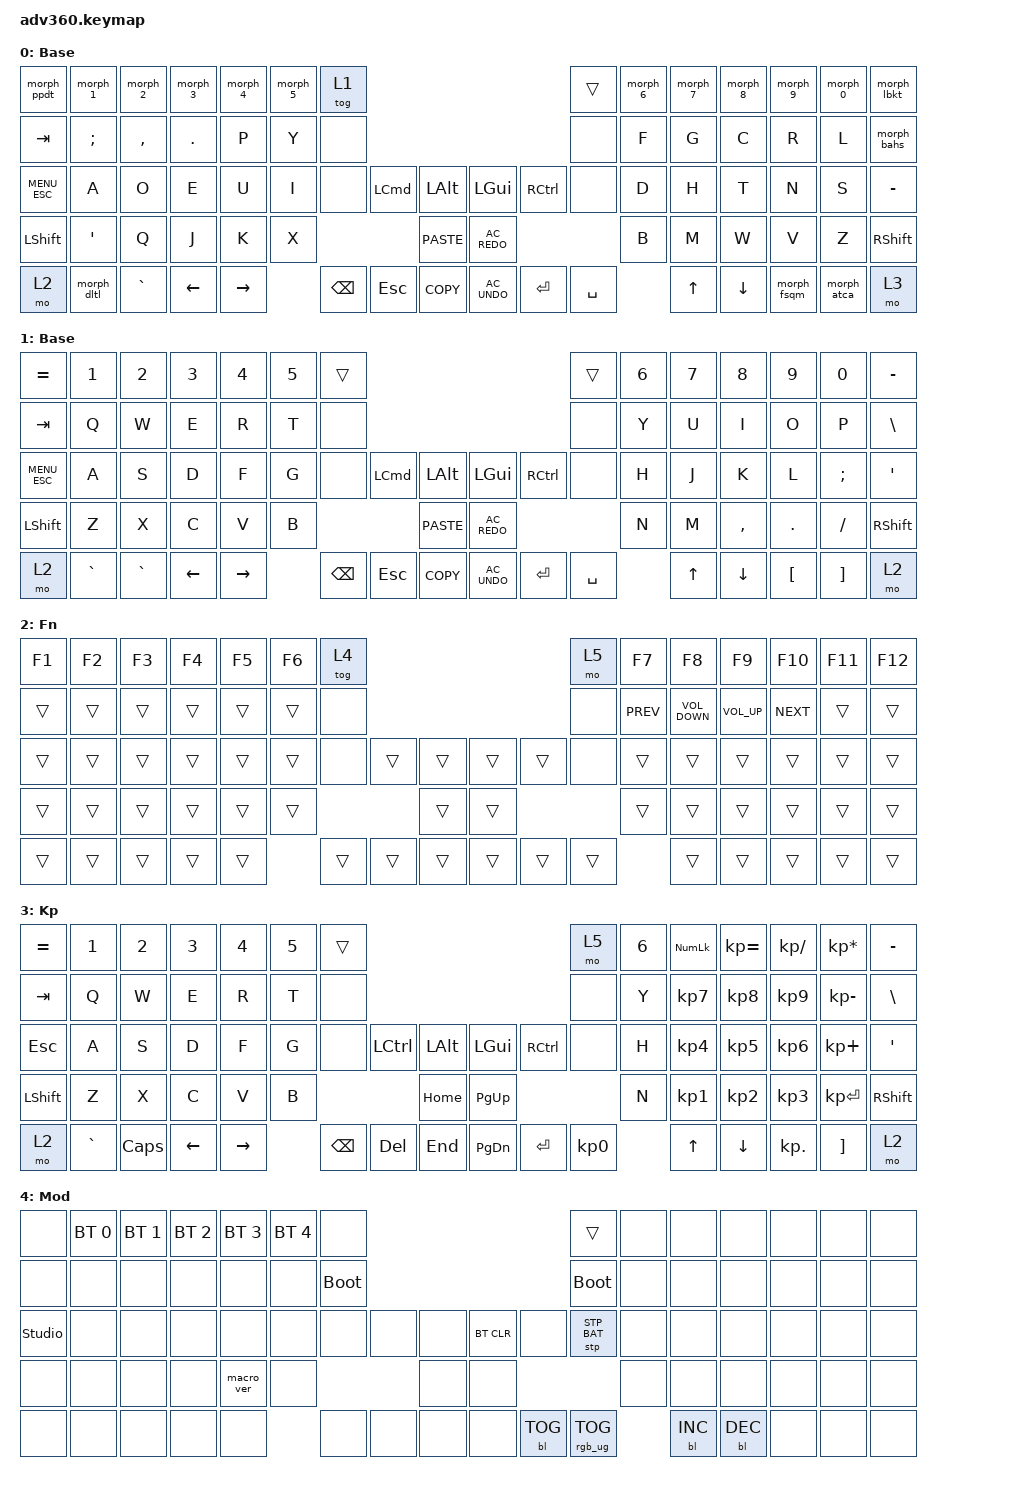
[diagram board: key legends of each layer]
#include <dt-bindings/zmk/stp.h>
#include <behaviors.dtsi>
#include <dt-bindings/zmk/backlight.h>
#include <dt-bindings/zmk/bt.h>
#include <dt-bindings/zmk/keys.h>
#include <dt-bindings/zmk/rgb.h>

/ {
    behaviors {
        #include "macros.dtsi"
        #include "version.dtsi"
        #include "morph.dtsi"

        hm: homerow_mods {
            compatible = "zmk,behavior-hold-tap";
            label = "HOMEROW_MODS";
            #binding-cells = <2>;
            tapping-term-ms = <200>;
            quick_tap_ms = <175>;
            flavor = "tap-preferred";
            bindings = <&kp>, <&kp>;
        };
    };

    keymap {
        compatible = "zmk,keymap";

        Dvorak {
            display-name = "Base";
            bindings = <
&morph_ppdt     &morph_1        &morph_2   &morph_3  &morph_4   &morph_5  &tog 1                                                                  &trans     &morph_6  &morph_7  &morph_8  &morph_9     &morph_0     &morph_lbkt
&kp TAB         &kp SEMICOLON   &kp COMMA  &kp DOT   &kp P      &kp Y     &none                                                                   &none      &kp F     &kp G     &kp C     &kp R        &kp L        &morph_bahs
&kp C_MENU_ESC  &kp A           &kp O      &kp E     &kp U      &kp I     &none     &kp LEFT_COMMAND  &kp LEFT_ALT      &kp LGUI       &kp RCTRL  &none      &kp D     &kp H     &kp T     &kp N        &kp S        &kp MINUS
&kp LSHFT       &kp APOSTROPHE  &kp Q      &kp J     &kp K      &kp X                                 &kp K_PASTE       &kp C_AC_REDO                        &kp B     &kp M     &kp W     &kp V        &kp Z        &kp RSHFT
&mo 2           &morph_dltl     &kp GRAVE  &kp LEFT  &kp RIGHT            &kp BSPC  &kp ESC           &kp K_COPY        &kp C_AC_UNDO  &kp ENTER  &kp SPACE            &kp UP    &kp DOWN  &morph_fsqm  &morph_atca  &mo 3
            >;
        };

        Querty {
            display-name = "Base";
            bindings = <
&kp EQUAL       &kp N1     &kp N2     &kp N3    &kp N4     &kp N5  &trans                                                                  &trans     &kp N6  &kp N7  &kp N8     &kp N9    &kp N0    &kp MINUS
&kp TAB         &kp Q      &kp W      &kp E     &kp R      &kp T   &none                                                                   &none      &kp Y   &kp U   &kp I      &kp O     &kp P     &kp BSLH
&kp C_MENU_ESC  &kp A      &kp S      &kp D     &kp F      &kp G   &none     &kp LEFT_COMMAND  &kp LEFT_ALT      &kp LGUI       &kp RCTRL  &none      &kp H   &kp J   &kp K      &kp L     &kp SEMI  &kp SQT
&kp LSHFT       &kp Z      &kp X      &kp C     &kp V      &kp B                               &kp K_PASTE       &kp C_AC_REDO                        &kp N   &kp M   &kp COMMA  &kp DOT   &kp FSLH  &kp RSHFT
&mo 2           &kp GRAVE  &kp GRAVE  &kp LEFT  &kp RIGHT          &kp BSPC  &kp ESC           &kp K_COPY        &kp C_AC_UNDO  &kp ENTER  &kp SPACE          &kp UP  &kp DOWN   &kp LBKT  &kp RBKT  &mo 2
            >;
        };

        fn {
            display-name = "Fn";
            bindings = <
&kp F1  &kp F2  &kp F3  &kp F4  &kp F5  &kp F6  &tog 4                                      &mo 5   &kp F7      &kp F8             &kp F9           &kp F10     &kp F11  &kp F12
&trans  &trans  &trans  &trans  &trans  &trans  &none                                       &none   &kp C_PREV  &kp C_VOLUME_DOWN  &kp C_VOLUME_UP  &kp C_NEXT  &trans   &trans
&trans  &trans  &trans  &trans  &trans  &trans  &none   &trans  &trans      &trans  &trans  &none   &trans      &trans             &trans           &trans      &trans   &trans
&trans  &trans  &trans  &trans  &trans  &trans                  &trans      &trans                  &trans      &trans             &trans           &trans      &trans   &trans
&trans  &trans  &trans  &trans  &trans          &trans  &trans  &trans      &trans  &trans  &trans              &trans             &trans           &trans      &trans   &trans
            >;
        };

        extra1 {
            display-name = "Red";
            status = "reserved";
        };

        keypad {
            display-name = "Kp";
            bindings = <
&kp EQUAL  &kp N1     &kp N2    &kp N3    &kp N4     &kp N5  &trans                                                   &mo 5      &kp N6  &kp KP_NUM  &kp KP_EQUAL  &kp KP_DIVIDE  &kp KP_MULTIPLY  &kp MINUS
&kp TAB    &kp Q      &kp W     &kp E     &kp R      &kp T   &none                                                    &none      &kp Y   &kp KP_N7   &kp KP_N8     &kp KP_N9      &kp KP_MINUS     &kp BSLH
&kp ESC    &kp A      &kp S     &kp D     &kp F      &kp G   &none     &kp LCTRL  &kp LALT      &kp LGUI   &kp RCTRL  &none      &kp H   &kp KP_N4   &kp KP_N5     &kp KP_N6      &kp KP_PLUS      &kp SQT
&kp LSHFT  &kp Z      &kp X     &kp C     &kp V      &kp B                        &kp HOME      &kp PG_UP                        &kp N   &kp KP_N1   &kp KP_N2     &kp KP_N3      &kp KP_ENTER     &kp RSHFT
&mo 2      &kp GRAVE  &kp CAPS  &kp LEFT  &kp RIGHT          &kp BSPC  &kp DEL    &kp END       &kp PG_DN  &kp ENTER  &kp KP_N0          &kp UP      &kp DOWN      &kp KP_DOT     &kp RBKT         &mo 2
            >;
        };

        mod {
            display-name = "Mod";
            bindings = <
&none           &bt BT_SEL 0  &bt BT_SEL 1  &bt BT_SEL 2  &bt BT_SEL 3  &bt BT_SEL 4  &none                                                  &trans           &none  &none       &none       &none  &none  &none
&none           &none         &none         &none         &none         &none         &bootloader                                            &bootloader      &none  &none       &none       &none  &none  &none
&studio_unlock  &none         &none         &none         &none         &none         &none        &none  &none      &bt BT_CLR  &none       &stp STP_BAT     &none  &none       &none       &none  &none  &none
&none           &none         &none         &none         &macro_ver    &none                             &none      &none                                    &none  &none       &none       &none  &none  &none
&none           &none         &none         &none         &none                       &none        &none  &none      &none       &bl BL_TOG  &rgb_ug RGB_TOG         &bl BL_INC  &bl BL_DEC  &none  &none  &none
            >;
        };

        extra2 {
            display-name = "Purple";
            status = "reserved";
        };

        extra3 {
            display-name = "Cyan";
            status = "reserved";
        };

        extra4 {
            display-name = "Yellow";
            status = "reserved";
        };
    };
};
